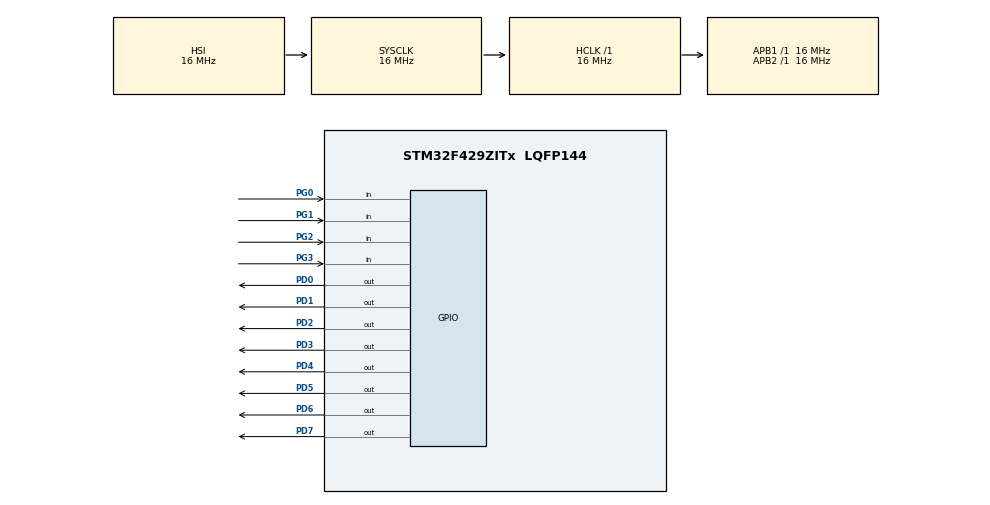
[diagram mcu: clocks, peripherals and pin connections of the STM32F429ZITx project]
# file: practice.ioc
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Mcu.Family=STM32F4
Mcu.Name=STM32F429ZITx
Mcu.Package=LQFP144
NVIC.PriorityGroup=NVIC_PRIORITYGROUP_4
PA13.Mode=Serial_Wire
PA13.Signal=SYS_JTMS-SWDIO
PA14.Mode=Serial_Wire
PA14.Signal=SYS_JTCK-SWCLK
PD0.GPIO_PuPd=GPIO_PULLUP
PD0.GPIO_Speed=GPIO_SPEED_FREQ_HIGH
PD0.Signal=GPIO_Output
PD1.GPIO_PuPd=GPIO_PULLUP
PD1.GPIO_Speed=GPIO_SPEED_FREQ_HIGH
PD1.Signal=GPIO_Output
PD2.GPIO_PuPd=GPIO_PULLUP
PD2.GPIO_Speed=GPIO_SPEED_FREQ_HIGH
PD2.Signal=GPIO_Output
PD3.GPIO_PuPd=GPIO_PULLUP
PD3.GPIO_Speed=GPIO_SPEED_FREQ_HIGH
PD3.Signal=GPIO_Output
PD4.GPIO_PuPd=GPIO_PULLUP
PD4.GPIO_Speed=GPIO_SPEED_FREQ_HIGH
PD4.Signal=GPIO_Output
PD5.GPIO_PuPd=GPIO_PULLUP
PD5.GPIO_Speed=GPIO_SPEED_FREQ_HIGH
PD5.Signal=GPIO_Output
PD6.GPIO_PuPd=GPIO_PULLUP
PD6.GPIO_Speed=GPIO_SPEED_FREQ_HIGH
PD6.Signal=GPIO_Output
PD7.GPIO_PuPd=GPIO_PULLUP
PD7.GPIO_Speed=GPIO_SPEED_FREQ_HIGH
PD7.Signal=GPIO_Output
PG0.GPIO_PuPd=GPIO_PULLDOWN
PG0.Signal=GPIO_Input
PG1.GPIO_PuPd=GPIO_PULLDOWN
PG1.Signal=GPIO_Input
PG2.GPIO_PuPd=GPIO_PULLDOWN
PG2.Signal=GPIO_Input
PG3.GPIO_PuPd=GPIO_PULLDOWN
PG3.Signal=GPIO_Input
ProjectManager.HeapSize=0x200
ProjectManager.StackSize=0x400
ProjectManager.TargetToolchain=STM32CubeIDE
RCC.AHBFreq_Value=16000000
RCC.APB1Freq_Value=16000000
RCC.APB2Freq_Value=16000000
RCC.CortexFreq_Value=16000000
RCC.HSE_VALUE=25000000
RCC.HSI_VALUE=16000000
RCC.LSE_VALUE=32768
RCC.SYSCLKFreq_VALUE=16000000
RCC.VCOOutputFreq_Value=192000000
board=custom

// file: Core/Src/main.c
/* USER CODE BEGIN Header */
/**
  ******************************************************************************
  * @file           : main.c
  * @brief          : Main program body
  ******************************************************************************
  * @attention
  *
  * Copyright (c) 2022 STMicroelectronics.
  * All rights reserved.
  *
  * This software is licensed under terms that can be found in the LICENSE file
  * in the root directory of this software component.
  * If no LICENSE file comes with this software, it is provided AS-IS.
  *
  ******************************************************************************
  */
/* USER CODE END Header */
#include "main.h"

/* USER CODE BEGIN PV */
int flag_SW1 = 0, flag_SW2 = 0, flag_SW3 = 0, flag_SW4=0;
/* USER CODE END PV */

void SystemClock_Config(void);
static void MX_GPIO_Init(void);
/* USER CODE BEGIN PFP */
void LED_OnOff(int,int);
/* USER CODE END PFP */

int main(void)
{
  /* USER CODE BEGIN 1 */
   uint16_t led = 0x01;
  /* USER CODE END 1 */

  /* MCU Configuration--------------------------------------------------------*/

  /* Reset of all peripherals, Initializes the Flash interface and the Systick. */
  HAL_Init();

  /* Configure the system clock */
  SystemClock_Config();

  /* Initialize all configured peripherals */
  MX_GPIO_Init();
  /* USER CODE BEGIN 2 */
  LED_OnOff(LED_ALL,500);

  /* USER CODE END 2 */

  /* Infinite loop */
  /* USER CODE BEGIN WHILE */
  while (1)
  {
	  if(flag_SW1 ==1){
		  while(1){
			  for(led=1;led<=0x03;led*=2){
				  LED_OnOff(led,300);
			  }
			  if(flag_SW1 == 1 | flag_SW2 == 1 | flag_SW4 == 1)break;
		  }
     }
	  if(flag_SW2 ==1){
		  while(1){
			  for(led=1;led<=0x0f;led*=2){
				  LED_OnOff(led,300);
			  }
			  if(flag_SW1 == 1 | flag_SW3 == 1 | flag_SW4 == 1)break;
		  }
     }
	  if(flag_SW3 ==1){
		  while(1){
			  for(led=1;led<=0x3f;led*=2){
				  LED_OnOff(led,300);
			  }
			  if(flag_SW1 == 1 | flag_SW2 == 1 | flag_SW4 == 1)break;
		  }
     }
	  if(flag_SW4 ==1){
		  while(1){
			  for(led=1;led<=0xff;led*=2){
				  LED_OnOff(led,300);
			  }
			  if(flag_SW1 == 1 | flag_SW2 == 1 | flag_SW3 == 1)break;
		  }
     }
    /* USER CODE END WHILE */

  }
}

void SystemClock_Config(void)
{
  RCC_OscInitTypeDef RCC_OscInitStruct = {0};
  RCC_ClkInitTypeDef RCC_ClkInitStruct = {0};

  /** Configure the main internal regulator output voltage
  */
  __HAL_RCC_PWR_CLK_ENABLE();
  __HAL_PWR_VOLTAGESCALING_CONFIG(PWR_REGULATOR_VOLTAGE_SCALE3);

  /** Initializes the RCC Oscillators according to the specified parameters
  * in the RCC_OscInitTypeDef structure.
  */
  RCC_OscInitStruct.OscillatorType = RCC_OSCILLATORTYPE_HSI;
  RCC_OscInitStruct.HSIState = RCC_HSI_ON;
  RCC_OscInitStruct.HSICalibrationValue = RCC_HSICALIBRATION_DEFAULT;
  RCC_OscInitStruct.PLL.PLLState = RCC_PLL_NONE;
  if (HAL_RCC_OscConfig(&RCC_OscInitStruct) != HAL_OK)
  {
    Error_Handler();
  }

  /** Initializes the CPU, AHB and APB buses clocks
  */
  RCC_ClkInitStruct.ClockType = RCC_CLOCKTYPE_HCLK|RCC_CLOCKTYPE_SYSCLK
                              |RCC_CLOCKTYPE_PCLK1|RCC_CLOCKTYPE_PCLK2;
  RCC_ClkInitStruct.SYSCLKSource = RCC_SYSCLKSOURCE_HSI;
  RCC_ClkInitStruct.AHBCLKDivider = RCC_SYSCLK_DIV1;
  RCC_ClkInitStruct.APB1CLKDivider = RCC_HCLK_DIV1;
  RCC_ClkInitStruct.APB2CLKDivider = RCC_HCLK_DIV1;

  if (HAL_RCC_ClockConfig(&RCC_ClkInitStruct, FLASH_LATENCY_0) != HAL_OK)
  {
    Error_Handler();
  }
}

static void MX_GPIO_Init(void)
{
  GPIO_InitTypeDef GPIO_InitStruct = {0};

  /* GPIO Ports Clock Enable */
  __HAL_RCC_GPIOG_CLK_ENABLE();
  __HAL_RCC_GPIOD_CLK_ENABLE();

  /*Configure GPIO pin Output Level */
  HAL_GPIO_WritePin(GPIOD, GPIO_PIN_0|GPIO_PIN_1|GPIO_PIN_2|GPIO_PIN_3
                          |GPIO_PIN_4|GPIO_PIN_5|GPIO_PIN_6|GPIO_PIN_7, GPIO_PIN_RESET);

  /*Configure GPIO pins : PG0 PG1 PG2 PG3 */
  GPIO_InitStruct.Pin = GPIO_PIN_0|GPIO_PIN_1|GPIO_PIN_2|GPIO_PIN_3;
  GPIO_InitStruct.Mode = GPIO_MODE_IT_FALLING;
  GPIO_InitStruct.Pull = GPIO_NOPULL;
  HAL_GPIO_Init(GPIOG, &GPIO_InitStruct);

  /*Configure GPIO pins : PD0 PD1 PD2 PD3
                           PD4 PD5 PD6 PD7 */
  GPIO_InitStruct.Pin = GPIO_PIN_0|GPIO_PIN_1|GPIO_PIN_2|GPIO_PIN_3
                          |GPIO_PIN_4|GPIO_PIN_5|GPIO_PIN_6|GPIO_PIN_7;
  GPIO_InitStruct.Mode = GPIO_MODE_OUTPUT_PP;
  GPIO_InitStruct.Pull = GPIO_PULLUP;
  GPIO_InitStruct.Speed = GPIO_SPEED_FREQ_HIGH;
  HAL_GPIO_Init(GPIOD, &GPIO_InitStruct);

  /* EXTI interrupt init*/
  HAL_NVIC_SetPriority(EXTI0_IRQn, 0, 0);
  HAL_NVIC_EnableIRQ(EXTI0_IRQn);

  HAL_NVIC_SetPriority(EXTI1_IRQn, 0, 0);
  HAL_NVIC_EnableIRQ(EXTI1_IRQn);

  HAL_NVIC_SetPriority(EXTI2_IRQn, 0, 0);
  HAL_NVIC_EnableIRQ(EXTI2_IRQn);

  HAL_NVIC_SetPriority(EXTI3_IRQn, 0, 0);
  HAL_NVIC_EnableIRQ(EXTI3_IRQn);

}

/* USER CODE BEGIN 4 */
void LED_OnOff(int led, int interval)
{
   HAL_GPIO_WritePin(GPIO_LED,led, GPIO_PIN_SET);
   HAL_GPIO_WritePin(GPIO_LED_Nucleo, led, GPIO_PIN_SET);
   HAL_Delay(interval);
   HAL_GPIO_WritePin(GPIO_LED,led, GPIO_PIN_SET);
   HAL_GPIO_WritePin(GPIO_LED_Nucleo, led, GPIO_PIN_SET);

}

void HAL_GPIO_EXTI_Callback(uint16_t GPIO_PIN)
{
   if(GPIO_PIN ==SW1){
      flag_SW1 = 1;
      flag_SW2 = 0;
      flag_SW3 = 0;
      flag_SW4 = 0;
   }
   if (GPIO_PIN==SW2){
      flag_SW1 = 0;
      flag_SW2 = 1;
      flag_SW3 = 0;
      flag_SW4 = 0;
   }
   if (GPIO_PIN==SW3){
      flag_SW1 = 0;
      flag_SW2 = 0;
      flag_SW3 = 1;
      flag_SW4 = 0;
   }
   if (GPIO_PIN==SW4){
      flag_SW1 = 0;
      flag_SW2 = 0;
      flag_SW3 = 0;
      flag_SW4 = 1;
   }
}
/* USER CODE END 4 */

void Error_Handler(void)
{
  __disable_irq();
  while (1)
  {
  }
}
